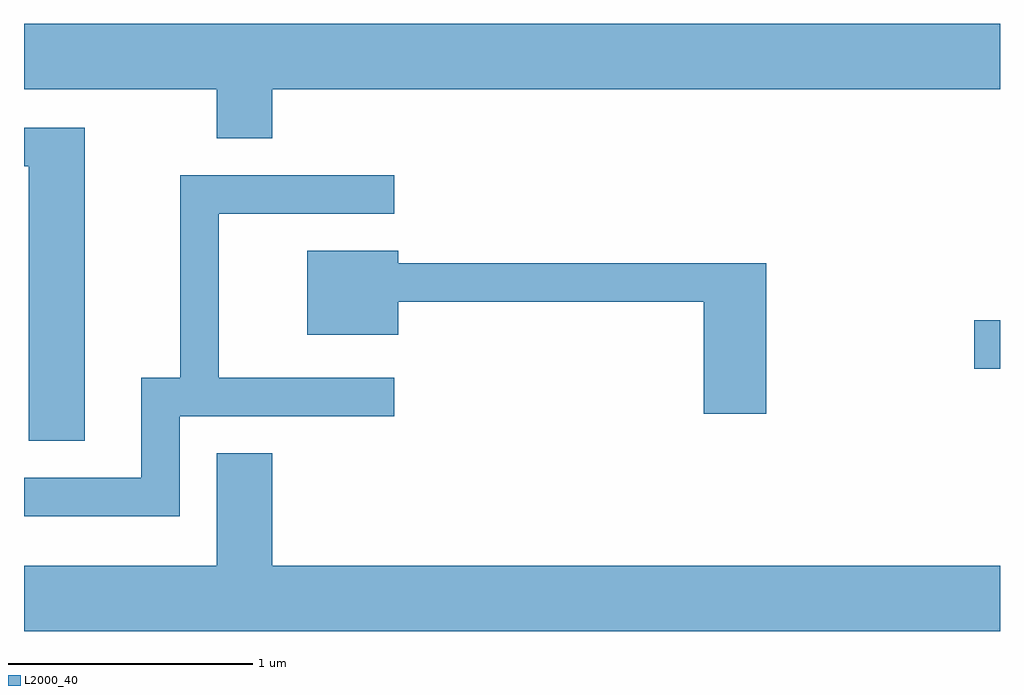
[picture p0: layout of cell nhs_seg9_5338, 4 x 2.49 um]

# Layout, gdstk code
import gdstk
lib = gdstk.Library(unit=1e-6, precision=1e-09)
def R(c, l, rs):  # rectangles x0, y0, x1, y1
    for r in rs: c.add(gdstk.rectangle(r[:2], r[2:], *l))
def P(c, l, *ps):  # polygons
    for p in ps: c.add(gdstk.Polygon(p, *l))
L2000_40 = (2000, 40)

nhs_seg9_5338 = lib.new_cell('nhs_seg9_5338')
R(nhs_seg9_5338, L2000_40, [(345.506,2066.151,345.611,2066.349)])
P(nhs_seg9_5338, L2000_40, [(342.629,2067.296),(345.611,2067.296),(345.611,2067.564),(341.611,2067.564),(341.611,2067.296),(342.401,2067.296),(342.401,2067.096),(342.629,2067.096)],
  [(341.859,2067.139),(341.611,2067.139),(341.611,2066.981),(341.631,2066.981),(341.631,2065.856),(341.859,2065.856)],
  [(342.249,2065.956),(343.128,2065.956),(343.128,2066.114),(342.409,2066.114),(342.409,2066.786),(343.128,2066.786),(343.128,2066.944),(342.251,2066.944),(342.251,2066.114),(342.091,2066.114),(342.091,2065.704),(341.611,2065.704),(341.611,2065.546),(342.249,2065.546)],
  [(344.654,2066.584),(343.144,2066.584),(343.144,2066.634),(342.771,2066.634),(342.771,2066.291),(343.144,2066.291),(343.144,2066.426),(344.396,2066.426),(344.396,2065.966),(344.654,2065.966)],
  [(345.611,2065.344),(342.629,2065.344),(342.629,2065.804),(342.401,2065.804),(342.401,2065.344),(341.611,2065.344),(341.611,2065.076),(345.611,2065.076)])

lib.write_gds('nhs_seg9_5338.gds')
